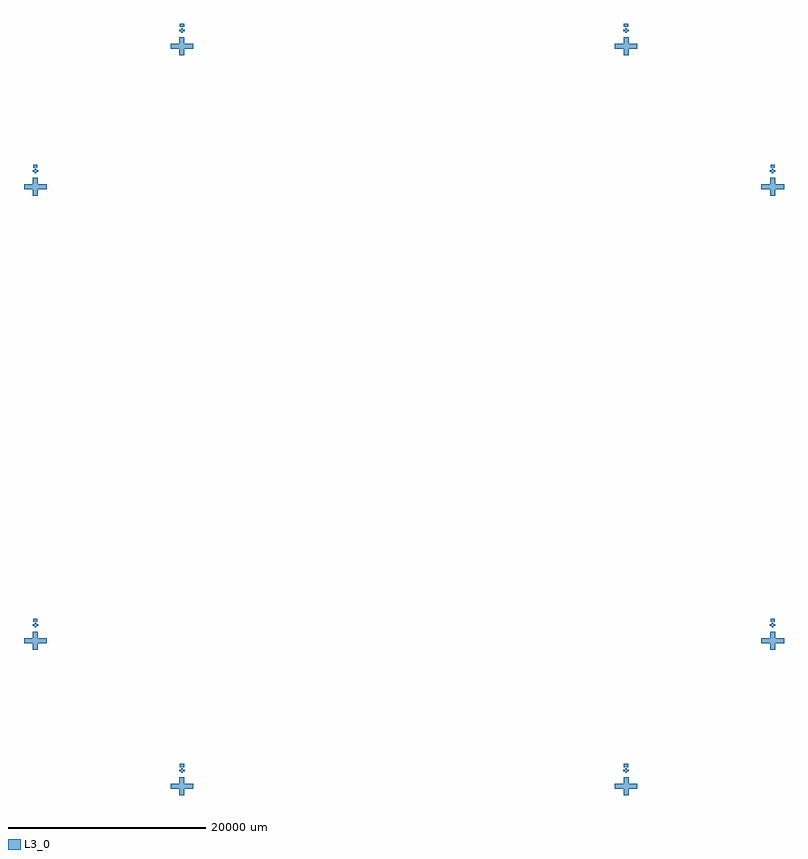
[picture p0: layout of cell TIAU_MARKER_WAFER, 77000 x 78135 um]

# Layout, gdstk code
import gdstk
lib = gdstk.Library(unit=1e-6, precision=1e-09)
def P(c, l, *ps):  # polygons
    for p in ps: c.add(gdstk.Polygon(p, *l))
L3_0 = (3, 0)

tiau_marker_wafer = lib.new_cell('TIAU_MARKER_WAFER')
P(tiau_marker_wafer, L3_0, [(37275.001,23994.999),(37275.001,24144.999),(37075.001,24144.999),(37075.001,24295),(37275.001,24295),(37275.001,24445),(37425.001,24444.999),(37425.001,24294.999),(37625.001,24294.999),(37625.001,24144.999),(37425.001,24144.999),(37425.001,23994.999)],
  [(22425.001,38244.999),(22425.001,38394.999),(22225.001,38394.999),(22225.001,38545),(22425.001,38545),(22425.001,38695),(22575.001,38694.999),(22575.001,38544.999),(22775.001,38544.999),(22775.001,38394.999),(22575.001,38394.999),(22575.001,38244.999)],
  [(22750,35970),(22250,35970.001),(22250,36620.001),(21350,36620.001),(21350,37120.001),(22250,37120.001),(22250,37770.001),(22750,37770),(22750,37120),(23650,37120),(23650,36620),(22750,36620)],
  [(37600,21720),(37100,21720.001),(37100,22370.001),(36200,22370.001),(36200,22870.001),(37100,22870.001),(37100,23520.001),(37600,23520),(37600,22870),(38500,22870),(38500,22370),(37600,22370)],
  [(-22750,-39010),(-22750,-38360),(-23650,-38360),(-23650,-37860),(-22750,-37860),(-22750,-37210),(-22250,-37210),(-22250,-37860),(-21350,-37860),(-21350,-38360),(-22250,-38360),(-22250,-39010)],
  [(-22715,-36163),(-22715,-36112),(-22673,-36112),(-22673,-36143),(-22632,-36143),(-22632,-36112),(-22618,-36112),(-22618,-36143),(-22577,-36143),(-22577,-36112),(-22423,-36112),(-22423,-36143),(-22382,-36143),(-22382,-36112),(-22368,-36112),(-22368,-36143),(-22327,-36143),(-22327,-36112),(-22715,-36112),(-22715,-36067),(-22673,-36067),(-22673,-36098),(-22632,-36098),(-22632,-36067),(-22618,-36067),(-22618,-36098),(-22577,-36098),(-22577,-36067),(-22423,-36067),(-22423,-36098),(-22382,-36098),(-22382,-36067),(-22368,-36067),(-22368,-36098),(-22327,-36098),(-22327,-36067),(-22715,-36067),(-22715,-35945),(-22695,-35945),(-22695,-35985),(-22640,-35985),(-22640,-35945),(-22610,-35945),(-22610,-35985),(-22555,-35985),(-22555,-35945),(-22445,-35945),(-22445,-35985),(-22390,-35985),(-22390,-35945),(-22360,-35945),(-22360,-35985),(-22305,-35985),(-22305,-35945),(-22715,-35945),(-22715,-35875),(-22695,-35875),(-22695,-35915),(-22640,-35915),(-22640,-35875),(-22610,-35875),(-22610,-35915),(-22555,-35915),(-22555,-35875),(-22445,-35875),(-22445,-35915),(-22390,-35915),(-22390,-35875),(-22360,-35875),(-22360,-35915),(-22305,-35915),(-22305,-35875),(-22715,-35875),(-22715,-35855),(-22285,-35855),(-22285,-36163)],
  [(-22575,-36735),(-22575,-36585),(-22775,-36585),(-22775,-36435),(-22575,-36435),(-22575,-36285),(-22425,-36285),(-22425,-36435),(-22225,-36435),(-22225,-36585),(-22425,-36585),(-22425,-36735)],
  [(22285,-36163),(22285,-36112),(22327,-36112),(22327,-36143),(22368,-36143),(22368,-36112),(22382,-36112),(22382,-36143),(22423,-36143),(22423,-36112),(22577,-36112),(22577,-36143),(22618,-36143),(22618,-36112),(22632,-36112),(22632,-36143),(22673,-36143),(22673,-36112),(22285,-36112),(22285,-36067),(22327,-36067),(22327,-36098),(22368,-36098),(22368,-36067),(22382,-36067),(22382,-36098),(22423,-36098),(22423,-36067),(22577,-36067),(22577,-36098),(22618,-36098),(22618,-36067),(22632,-36067),(22632,-36098),(22673,-36098),(22673,-36067),(22285,-36067),(22285,-35945),(22305,-35945),(22305,-35985),(22360,-35985),(22360,-35945),(22390,-35945),(22390,-35985),(22445,-35985),(22445,-35945),(22555,-35945),(22555,-35985),(22610,-35985),(22610,-35945),(22640,-35945),(22640,-35985),(22695,-35985),(22695,-35945),(22285,-35945),(22285,-35875),(22305,-35875),(22305,-35915),(22360,-35915),(22360,-35875),(22390,-35875),(22390,-35915),(22445,-35915),(22445,-35875),(22555,-35875),(22555,-35915),(22610,-35915),(22610,-35875),(22640,-35875),(22640,-35915),(22695,-35915),(22695,-35875),(22285,-35875),(22285,-35855),(22715,-35855),(22715,-36163)],
  [(22425,-36735),(22425,-36585),(22225,-36585),(22225,-36435),(22425,-36435),(22425,-36285),(22575,-36285),(22575,-36435),(22775,-36435),(22775,-36585),(22575,-36585),(22575,-36735)],
  [(22250,-39010),(22250,-38360),(21350,-38360),(21350,-37860),(22250,-37860),(22250,-37210),(22750,-37210),(22750,-37860),(23650,-37860),(23650,-38360),(22750,-38360),(22750,-39010)],
  [(37135,-21433),(37135,-21382),(37177,-21382),(37177,-21413),(37218,-21413),(37218,-21382),(37232,-21382),(37232,-21413),(37273,-21413),(37273,-21382),(37427,-21382),(37427,-21413),(37468,-21413),(37468,-21382),(37482,-21382),(37482,-21413),(37523,-21413),(37523,-21382),(37135,-21382),(37135,-21337),(37177,-21337),(37177,-21368),(37218,-21368),(37218,-21337),(37232,-21337),(37232,-21368),(37273,-21368),(37273,-21337),(37427,-21337),(37427,-21368),(37468,-21368),(37468,-21337),(37482,-21337),(37482,-21368),(37523,-21368),(37523,-21337),(37135,-21337),(37135,-21215),(37155,-21215),(37155,-21255),(37210,-21255),(37210,-21215),(37240,-21215),(37240,-21255),(37295,-21255),(37295,-21215),(37405,-21215),(37405,-21255),(37460,-21255),(37460,-21215),(37490,-21215),(37490,-21255),(37545,-21255),(37545,-21215),(37135,-21215),(37135,-21145),(37155,-21145),(37155,-21185),(37210,-21185),(37210,-21145),(37240,-21145),(37240,-21185),(37295,-21185),(37295,-21145),(37405,-21145),(37405,-21185),(37460,-21185),(37460,-21145),(37490,-21145),(37490,-21185),(37545,-21185),(37545,-21145),(37135,-21145),(37135,-21125),(37565,-21125),(37565,-21433)],
  [(-37565,-21433),(-37565,-21382),(-37523,-21382),(-37523,-21413),(-37482,-21413),(-37482,-21382),(-37468,-21382),(-37468,-21413),(-37427,-21413),(-37427,-21382),(-37273,-21382),(-37273,-21413),(-37232,-21413),(-37232,-21382),(-37218,-21382),(-37218,-21413),(-37177,-21413),(-37177,-21382),(-37565,-21382),(-37565,-21337),(-37523,-21337),(-37523,-21368),(-37482,-21368),(-37482,-21337),(-37468,-21337),(-37468,-21368),(-37427,-21368),(-37427,-21337),(-37273,-21337),(-37273,-21368),(-37232,-21368),(-37232,-21337),(-37218,-21337),(-37218,-21368),(-37177,-21368),(-37177,-21337),(-37565,-21337),(-37565,-21215),(-37545,-21215),(-37545,-21255),(-37490,-21255),(-37490,-21215),(-37460,-21215),(-37460,-21255),(-37405,-21255),(-37405,-21215),(-37295,-21215),(-37295,-21255),(-37240,-21255),(-37240,-21215),(-37210,-21215),(-37210,-21255),(-37155,-21255),(-37155,-21215),(-37565,-21215),(-37565,-21145),(-37545,-21145),(-37545,-21185),(-37490,-21185),(-37490,-21145),(-37460,-21145),(-37460,-21185),(-37405,-21185),(-37405,-21145),(-37295,-21145),(-37295,-21185),(-37240,-21185),(-37240,-21145),(-37210,-21145),(-37210,-21185),(-37155,-21185),(-37155,-21145),(-37565,-21145),(-37565,-21125),(-37135,-21125),(-37135,-21433)],
  [(37275,-22005),(37275,-21855),(37075,-21855),(37075,-21705),(37275,-21705),(37275,-21555),(37425,-21555),(37425,-21705),(37625,-21705),(37625,-21855),(37425,-21855),(37425,-22005)],
  [(37100,-24280),(37100,-23630),(36200,-23630),(36200,-23130),(37100,-23130),(37100,-22480),(37600,-22480),(37600,-23130),(38500,-23130),(38500,-23630),(37600,-23630),(37600,-24280)],
  [(-37425,-22005),(-37425,-21855),(-37625,-21855),(-37625,-21705),(-37425,-21705),(-37425,-21555),(-37275,-21555),(-37275,-21705),(-37075,-21705),(-37075,-21855),(-37275,-21855),(-37275,-22005)],
  [(-37565,24567),(-37565,24618),(-37523,24618),(-37523,24587),(-37482,24587),(-37482,24618),(-37468,24618),(-37468,24587),(-37427,24587),(-37427,24618),(-37273,24618),(-37273,24587),(-37232,24587),(-37232,24618),(-37218,24618),(-37218,24587),(-37177,24587),(-37177,24618),(-37565,24618),(-37565,24663),(-37523,24663),(-37523,24632),(-37482,24632),(-37482,24663),(-37468,24663),(-37468,24632),(-37427,24632),(-37427,24663),(-37273,24663),(-37273,24632),(-37232,24632),(-37232,24663),(-37218,24663),(-37218,24632),(-37177,24632),(-37177,24663),(-37565,24663),(-37565,24785),(-37545,24785),(-37545,24745),(-37490,24745),(-37490,24785),(-37460,24785),(-37460,24745),(-37405,24745),(-37405,24785),(-37295,24785),(-37295,24745),(-37240,24745),(-37240,24785),(-37210,24785),(-37210,24745),(-37155,24745),(-37155,24785),(-37565,24785),(-37565,24855),(-37545,24855),(-37545,24815),(-37490,24815),(-37490,24855),(-37460,24855),(-37460,24815),(-37405,24815),(-37405,24855),(-37295,24855),(-37295,24815),(-37240,24815),(-37240,24855),(-37210,24855),(-37210,24815),(-37155,24815),(-37155,24855),(-37565,24855),(-37565,24875),(-37135,24875),(-37135,24567)],
  [(37134.998,24567),(37134.998,24618),(37176.998,24618),(37176.998,24587),(37217.998,24587),(37217.998,24618),(37231.998,24618),(37231.998,24587),(37272.998,24587),(37272.998,24618),(37426.998,24618),(37426.998,24587),(37467.998,24587),(37467.998,24618),(37481.998,24618),(37481.998,24587),(37522.998,24587),(37522.998,24618),(37134.998,24618),(37134.998,24663),(37176.998,24663),(37176.998,24632),(37217.998,24632),(37217.998,24663),(37231.998,24663),(37231.998,24632),(37272.998,24632),(37272.998,24663),(37426.998,24663),(37426.998,24632),(37467.998,24632),(37467.998,24663),(37481.998,24663),(37481.998,24632),(37522.998,24632),(37522.998,24663),(37134.998,24663),(37134.998,24785),(37154.998,24785),(37154.998,24745),(37209.998,24745),(37209.998,24785),(37239.998,24785),(37239.998,24745),(37294.998,24745),(37294.998,24785),(37404.998,24785),(37404.998,24745),(37459.998,24745),(37459.998,24785),(37489.998,24785),(37489.998,24745),(37544.998,24745),(37544.998,24785),(37134.998,24785),(37134.998,24855),(37154.998,24855),(37154.998,24815),(37209.998,24815),(37209.998,24855),(37239.998,24855),(37239.998,24815),(37294.998,24815),(37294.998,24855),(37404.998,24855),(37404.998,24815),(37459.998,24815),(37459.998,24855),(37489.998,24855),(37489.998,24815),(37544.998,24815),(37544.998,24855),(37134.998,24855),(37134.998,24875),(37564.998,24875),(37564.998,24567)],
  [(-22575,38245),(-22575,38395),(-22775,38395),(-22775,38545),(-22575,38545),(-22575,38695),(-22425,38695),(-22425,38545),(-22225,38545),(-22225,38395),(-22425,38395),(-22425,38245)],
  [(-22750,35970),(-22750,36620),(-23650,36620),(-23650,37120),(-22750,37120),(-22750,37770),(-22250,37770),(-22250,37120),(-21350,37120),(-21350,36620),(-22250,36620),(-22250,35970)],
  [(-22715,38817),(-22715,38868),(-22673,38868),(-22673,38837),(-22632,38837),(-22632,38868),(-22618,38868),(-22618,38837),(-22577,38837),(-22577,38868),(-22423,38868),(-22423,38837),(-22382,38837),(-22382,38868),(-22368,38868),(-22368,38837),(-22327,38837),(-22327,38868),(-22715,38868),(-22715,38913),(-22673,38913),(-22673,38882),(-22632,38882),(-22632,38913),(-22618,38913),(-22618,38882),(-22577,38882),(-22577,38913),(-22423,38913),(-22423,38882),(-22382,38882),(-22382,38913),(-22368,38913),(-22368,38882),(-22327,38882),(-22327,38913),(-22715,38913),(-22715,39035),(-22695,39035),(-22695,38995),(-22640,38995),(-22640,39035),(-22610,39035),(-22610,38995),(-22555,38995),(-22555,39035),(-22445,39035),(-22445,38995),(-22390,38995),(-22390,39035),(-22360,39035),(-22360,38995),(-22305,38995),(-22305,39035),(-22715,39035),(-22715,39105),(-22695,39105),(-22695,39065),(-22640,39065),(-22640,39105),(-22610,39105),(-22610,39065),(-22555,39065),(-22555,39105),(-22445,39105),(-22445,39065),(-22390,39065),(-22390,39105),(-22360,39105),(-22360,39065),(-22305,39065),(-22305,39105),(-22715,39105),(-22715,39125),(-22285,39125),(-22285,38817)],
  [(-37425,23995),(-37425,24145),(-37625,24145),(-37625,24295),(-37425,24295),(-37425,24445),(-37275,24445),(-37275,24295),(-37075,24295),(-37075,24145),(-37275,24145),(-37275,23995)],
  [(-37600,21720),(-37600,22370),(-38500,22370),(-38500,22870),(-37600,22870),(-37600,23520),(-37100,23520),(-37100,22870),(-36200,22870),(-36200,22370),(-37100,22370),(-37100,21720)],
  [(22284.998,38817),(22284.998,38868),(22326.998,38868),(22326.998,38837),(22367.998,38837),(22367.998,38868),(22381.998,38868),(22381.998,38837),(22422.998,38837),(22422.998,38868),(22576.998,38868),(22576.998,38837),(22617.998,38837),(22617.998,38868),(22631.998,38868),(22631.998,38837),(22672.998,38837),(22672.998,38868),(22284.998,38868),(22284.998,38913),(22326.998,38913),(22326.998,38882),(22367.998,38882),(22367.998,38913),(22381.998,38913),(22381.998,38882),(22422.998,38882),(22422.998,38913),(22576.998,38913),(22576.998,38882),(22617.998,38882),(22617.998,38913),(22631.998,38913),(22631.998,38882),(22672.998,38882),(22672.998,38913),(22284.998,38913),(22284.998,39035),(22304.998,39035),(22304.998,38995),(22359.998,38995),(22359.998,39035),(22389.998,39035),(22389.998,38995),(22444.998,38995),(22444.998,39035),(22554.998,39035),(22554.998,38995),(22609.998,38995),(22609.998,39035),(22639.998,39035),(22639.998,38995),(22694.998,38995),(22694.998,39035),(22284.998,39035),(22284.998,39105),(22304.998,39105),(22304.998,39065),(22359.998,39065),(22359.998,39105),(22389.998,39105),(22389.998,39065),(22444.998,39065),(22444.998,39105),(22554.998,39105),(22554.998,39065),(22609.998,39065),(22609.998,39105),(22639.998,39105),(22639.998,39065),(22694.998,39065),(22694.998,39105),(22284.998,39105),(22284.998,39125),(22714.998,39125),(22714.998,38817)],
  [(-37600,-24280),(-37600,-23630),(-38500,-23630),(-38500,-23130),(-37600,-23130),(-37600,-22480),(-37100,-22480),(-37100,-23130),(-36200,-23130),(-36200,-23630),(-37100,-23630),(-37100,-24280)])

lib.write_gds('TIAU_MARKER_WAFER.gds')
